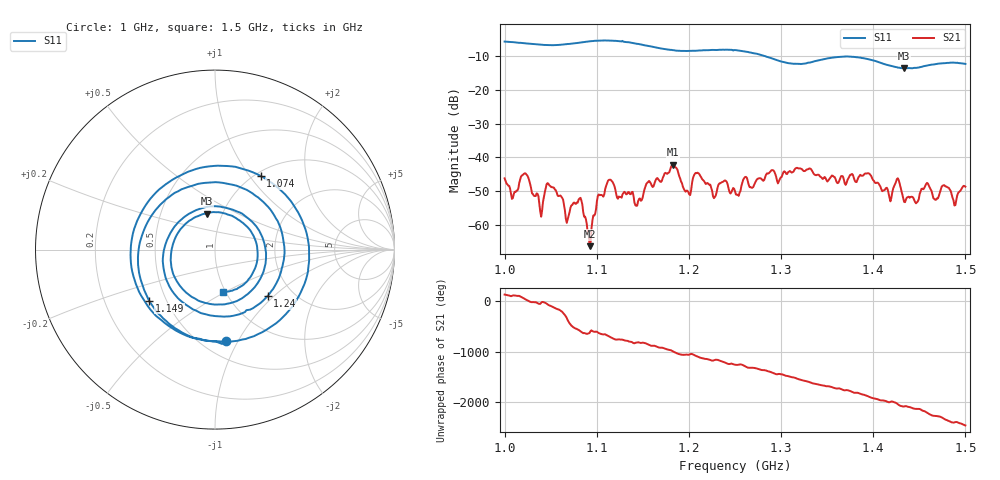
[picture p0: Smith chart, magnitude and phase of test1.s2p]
# HZ S RI R 50
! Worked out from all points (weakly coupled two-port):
!   505 points, 1 GHz to 1.5 GHz, reference 50 ohm
!   highest |S21| = -42.14 dB at 1.183 GHz (marker M1); lowest = -66.2 dB at 1.092 GHz (marker M2)
!   lowest |S11| = -13.7 dB at 1.434 GHz (marker M3), VSWR 1.52, Z = 42.2 + j17.7 ohm
!   |S11| at or under -10 dB: 1.282 GHz to end of sweep
!   S12 and S22 are empty: the file has one direction only
!   S11 on the Smith chart (normalised r, x): 1 GHz: 0.65, -0.90; 1.074 GHz: 1.06, +1.13; 1.149 GHz: 0.40, -0.29; 1.24 GHz: 1.49, -0.91; 1.5 GHz: 0.98, -0.49
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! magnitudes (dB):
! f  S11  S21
! 1 GHz  -5.8  -46.1
! 1.023 GHz  -6.3  -44.7
! 1.04 GHz  -6.7  -57.5
! 1.048 GHz  -6.8  -47.8
! 1.067 GHz  -6.5  -59.3
! 1.074 GHz  -6.3  -53.5
! 1.083 GHz  -6.0  -52.7
! 1.092 GHz  -5.7  -66.2
! 1.113 GHz  -5.5  -46.6
! 1.149 GHz  -6.7  -52.6
! 1.167 GHz  -7.7  -46.4
! 1.183 GHz  -8.3  -42.1
! 1.199 GHz  -8.5  -50.3
! 1.208 GHz  -8.4  -44.6
! 1.227 GHz  -8.2  -52.0
! 1.24 GHz  -8.2  -46.9
! 1.25 GHz  -8.3  -49.9
! 1.333 GHz  -11.8  -43.8
! 1.417 GHz  -12.8  -50.6
! 1.427 GHz  -13.4  -46.1
! 1.434 GHz  -13.7  -53.1
! 1.5 GHz  -12.4  -48.6
